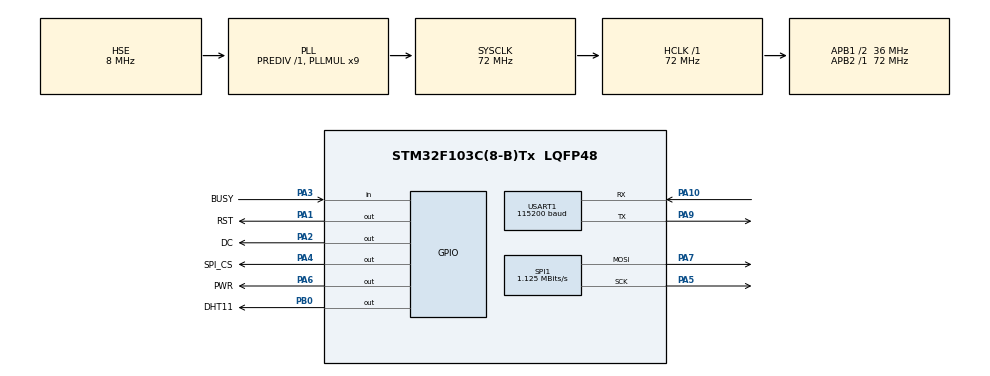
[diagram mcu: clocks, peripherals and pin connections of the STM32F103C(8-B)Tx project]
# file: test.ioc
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Mcu.Family=STM32F1
Mcu.Name=STM32F103C(8-B)Tx
Mcu.Package=LQFP48
NVIC.PriorityGroup=NVIC_PRIORITYGROUP_4
NVIC.TIM4_IRQn=true\:0\:0\:false\:false\:true\:true\:true\:true
NVIC.USART1_IRQn=true\:0\:0\:false\:false\:true\:true\:true\:true
PA1.GPIO_Label=RST
PA1.Signal=GPIO_Output
PA10.Mode=Asynchronous
PA10.Signal=USART1_RX
PA13.Mode=Serial_Wire
PA13.Signal=SYS_JTMS-SWDIO
PA14.Mode=Serial_Wire
PA14.Signal=SYS_JTCK-SWCLK
PA2.GPIO_Label=DC
PA2.Signal=GPIO_Output
PA3.GPIO_Label=BUSY
PA3.Signal=GPIO_Input
PA4.GPIO_Label=SPI_CS
PA4.Signal=GPIO_Output
PA5.GPIO_Speed=GPIO_SPEED_FREQ_LOW
PA5.Mode=TX_Only_Simplex_Unidirect_Master
PA5.Signal=SPI1_SCK
PA6.GPIO_Label=PWR
PA6.Signal=GPIO_Output
PA7.GPIO_Speed=GPIO_SPEED_FREQ_LOW
PA7.Mode=TX_Only_Simplex_Unidirect_Master
PA7.Signal=SPI1_MOSI
PA9.Mode=Asynchronous
PA9.Signal=USART1_TX
PB0.GPIO_Label=DHT11
PB0.GPIO_ModeDefaultOutputPP=GPIO_MODE_OUTPUT_OD
PB0.GPIO_PuPd=GPIO_PULLUP
PB0.Signal=GPIO_Output
PD0-OSC_IN.Mode=HSE-External-Oscillator
PD0-OSC_IN.Signal=RCC_OSC_IN
PD1-OSC_OUT.Mode=HSE-External-Oscillator
PD1-OSC_OUT.Signal=RCC_OSC_OUT
ProjectManager.HeapSize=0x3000
ProjectManager.StackSize=0x1000
ProjectManager.TargetToolchain=MDK-ARM V5
RCC.AHBFreq_Value=72000000
RCC.APB1CLKDivider=RCC_HCLK_DIV2
RCC.APB1Freq_Value=36000000
RCC.APB1TimFreq_Value=72000000
RCC.APB2Freq_Value=72000000
RCC.APB2TimFreq_Value=72000000
RCC.FLatency=FLASH_LATENCY_2
RCC.HCLKFreq_Value=72000000
RCC.PLLMUL=RCC_PLL_MUL9
RCC.PLLSourceVirtual=RCC_PLLSOURCE_HSE
RCC.SYSCLKFreq_VALUE=72000000
RCC.SYSCLKSource=RCC_SYSCLKSOURCE_PLLCLK
RCC.USBFreq_Value=72000000
SPI1.BaudRatePrescaler=SPI_BAUDRATEPRESCALER_64
SPI1.CLKPhase=SPI_PHASE_1EDGE
SPI1.CLKPolarity=SPI_POLARITY_LOW
SPI1.CRCCalculation=SPI_CRCCALCULATION_DISABLE
SPI1.CalculateBaudRate=1.125 MBits/s
SPI1.DataSize=SPI_DATASIZE_8BIT
SPI1.Direction=SPI_DIRECTION_2LINES
SPI1.FirstBit=SPI_FIRSTBIT_MSB
SPI1.Mode=SPI_MODE_MASTER
SPI1.NSS=SPI_NSS_SOFT
SPI1.TIMode=SPI_TIMODE_DISABLE
SPI1.VirtualType=VM_MASTER
TIM4.AutoReloadPreload=TIM_AUTORELOAD_PRELOAD_ENABLE
TIM4.Period=25000-1
TIM4.Prescaler=14400-1
USART1.BaudRate=115200
USART1.Mode=MODE_TX_RX
USART1.Parity=PARITY_NONE
USART1.StopBits=STOPBITS_1
USART1.VirtualMode=VM_ASYNC
USART1.WordLength=WORDLENGTH_8B
VP_TIM4_VS_ClockSourceINT.Mode=Internal
board=epd5in83-demo

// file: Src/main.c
/* USER CODE BEGIN Header */
/**
  ******************************************************************************
  * @file           : main.c
  * @brief          : Main program body
  ******************************************************************************
  * @attention
  *
  * Copyright (c) 2025 STMicroelectronics.
  * All rights reserved.
  *
  * This software is licensed under terms that can be found in the LICENSE file
  * in the root directory of this software component.
  * If no LICENSE file comes with this software, it is provided AS-IS.
  *
  ******************************************************************************
  */
/* USER CODE END Header */
#include "main.h"
#include "spi.h"
#include "tim.h"
#include "usart.h"
#include "gpio.h"

/* USER CODE BEGIN Includes */
#include "EPD_2in9.h"
#include "driver_dht11.h"
#include "fonts.h"
#include "EPD_use.h"
#include "Picture.h"
/* USER CODE END Includes */

/* USER CODE BEGIN PTD */
#include "stdio.h"
#include <string.h>
#ifdef __GNUC__
#define PUTCHAR_PROTOTYPE int __io_putchar(int ch)
#else
#define PUTCHAR_PROTOTYPE int fputc(int ch, FILE *f)
#endif
PUTCHAR_PROTOTYPE
{
    HAL_UART_Transmit(&huart1 , (uint8_t *)&ch, 1, 0xFFFF);
    return ch;
}
/* USER CODE END PTD */

/* USER CODE BEGIN PV */

#define RX_BUFFER_SIZE 1024  // 定义接收缓冲区大小

uint8_t rxBuffer[RX_BUFFER_SIZE];  // 接收缓冲区
uint16_t rxIndex = 0;  // 接收缓冲区的索引
char text_result[100];
char update_result[100];
char tem_result[100];
char real_time[100];
int count=0;
PAINT_TIME part_time;
int year,month,day,hum,temp;
UWORD Imagesize = ((EPD_2IN9_WIDTH % 8 == 0)?
                    (EPD_2IN9_WIDTH / 8 ) :
                    (EPD_2IN9_WIDTH / 8 + 1)) * EPD_2IN9_HEIGHT;
extern  UBYTE *BlackImage ;

void extractText(const char *json) {
    const char *text_key = "\"text\":\"";
    const char *start = strstr(json, text_key);
    if (start) {
        start += strlen(text_key);
        const char *end = strchr(start, '"');
        if (end) {
            size_t len = end - start;
            if (len < sizeof(text_result)) {
                strncpy(text_result, start, len);
                text_result[len] = '\0';
                printf("%s\n", text_result);
            } else {
                printf("提取的 text 字段过长，超出缓冲区大小\n");
            }
        }
    } else {
        text_result[0] = '\0';
        printf("未找到 text 字段\n");
    }
}
void clear_rxBuffer(void) {
    // 清空缓冲区数据
    memset(rxBuffer, 0, RX_BUFFER_SIZE);
    // 重置接收缓冲区索引
    rxIndex = 0;
    printf("接收缓冲区已清空。\n");
}

void extract_update(const char *json) {
    const char *text_key = "\"last_update\":\"";
    const char *start = strstr(json, text_key);
    if (start) {
        start += strlen(text_key);
        const char *end = strchr(start, '"');
        if (end) {
            size_t len = end - start;
            if (len < sizeof(update_result)) {
                strncpy(update_result, start, len);
                update_result[len] = '\0';
                printf("%s\n", update_result);
            } else {
                printf("提取的 last_update 字段过长，超出缓冲区大小\n");
            }
        }
    } else {
        update_result[0] = '\0';
        printf("未找到 update 字段\n");
    }
}
void extract_real_time(const char *json) {
    const char *text_key = "\"request_id\":\"";
    const char *start = strstr(json, text_key);
    if (start) {
        start += strlen(text_key);
        const char *end = strchr(start, '"');
        if (end) {
            size_t len = end - start;
            if (len < sizeof(real_time)) {
                strncpy(real_time, start, len);
                real_time[len] = '\0';
                printf("%s\n", real_time);
            } else {
                printf("提取的 last_update 字段过长，超出缓冲区大小\n");
            }
        }
    } else {
        update_result[0] = '\0';
        printf("未找到 request_id 字段\n");
    }
}

void extract_date_from_http(const char *json) {
	const char *text_key = "Date: ";
    const char *start = strstr(json, text_key);
    if (start) {
        start += strlen(text_key);
			const char *end = strchr(start, 'G');
        if (end) {
            size_t len = end - start;
            if (len < sizeof(real_time)) {
                strncpy(real_time, start, len);
                real_time[len] = '\0';
                printf("%s\n", real_time);
            } else {
                printf("提取的 last_update 字段过长，超出缓冲区大小\n");
            }
        }
    } else {
        update_result[0] = '\0';
        printf("未找到 Date 字段\n");
    }
}

void extract_tempare(const char *json) {
    const char *text_key = "\"temperature\":\"";
    const char *start = strstr(json, text_key);
    if (start) {
        start += strlen(text_key);
        const char *end = strchr(start, '"');
        if (end) {
            size_t len = end - start;
            if (len < sizeof(tem_result)) {
                strncpy(tem_result, start, len);
                tem_result[len] = '\0';
                printf("%s\n", tem_result);
            } else {
                printf("提取的 last_update 字段过长，超出缓冲区大小\n");
            }
        }
    } else {
        update_result[0] = '\0';
        printf("未找到 update 字段\n");
    }
}

void processReceivedData(uint8_t* buffer, uint16_t size)
{
    printf("%s\n", buffer);  // 作为字符串输出
}
// ��һ�������С�ĵ�ɫλͼ��ָ��λ�ã�x, y��
void Paint_DrawBitMapXY(const unsigned char *image, UWORD x_start, UWORD y_start, UWORD width, UWORD height) {
    UWORD x, y;
    for (y = 0; y < height; y++) {
        for (x = 0; x < width; x++) {
            UWORD byte_index = y * ((width + 7) / 8) + x / 8;
            UBYTE byte = image[byte_index];
            UBYTE bit = 0x80 >> (x % 8);
            if (byte & bit)
                Paint_SetPixel(x_start + x, y_start + y, BLACK);
            else
                Paint_SetPixel(x_start + x, y_start + y, WHITE);
        }
    }
}

void clear( UWORD x_start, UWORD y_start, UWORD width, UWORD height,uint16_t Color) {
    UWORD x, y;
    for (y = 0; y < height; y++) {
        for (x = 0; x < width; x++) {
                Paint_SetPixel(x_start + x, y_start + y, Color);
        }
    }
}

/* USER CODE END PV */

void SystemClock_Config(void);
/* USER CODE BEGIN PFP */
int EPD_test(void);
/* USER CODE END PFP */

/* USER CODE BEGIN 0 */
int MY_EPD_test(void)
{

		DEV_Module_Init();
		EPD_2IN9_Init(EPD_2IN9_FULL);
		EPD_2IN9_Clear();

		Paint_NewImage(BlackImage, EPD_2IN9_WIDTH, EPD_2IN9_HEIGHT, 270, WHITE);
		Paint_SelectImage(BlackImage);
		Paint_Clear(WHITE);

		Paint_DrawLine(0, 21, 296, 21, BLACK, DOT_PIXEL_1X1, LINE_STYLE_SOLID);
		Paint_DrawLine(245, 21, 245, 128, BLACK, DOT_PIXEL_1X1, LINE_STYLE_SOLID);
		Paint_DrawLine(72, 21, 72, 128, BLACK, DOT_PIXEL_1X1, LINE_STYLE_SOLID);
		HAL_Delay(2000);    EPD_2IN9_Display(BlackImage);

		Paint_DrawBitMapXY(gImage_wifi_disconnect, 276, 0, 20, 20); // ����λ��
		HAL_Delay(2000);    EPD_2IN9_Display(BlackImage);
		return 0;
}

int E_test(void)
{
		Paint_DrawBitMapXY(gImage_snow, 246, 21, 50, 50); // ����λ��
		HAL_Delay(2000);    EPD_2IN9_Display(BlackImage);
		return 0;
}

void HAL_TIM_PeriodElapsedCallback(TIM_HandleTypeDef *htim)
{

	count++;

}

void Set_Time(char *real_time)
{
		part_time.Hour=(real_time[17]-'0')*10+real_time[18]-'0'+8;
		part_time.Min=(real_time[20]-'0')*10+real_time[21]-'0';
		part_time.Sec=(real_time[23]-'0')*10+real_time[24]-'0';

}

void Get_Weather(void)
{
		HAL_UART_Receive_IT(&huart1, &rxBuffer[0], 1);
		HAL_UART_AbortReceive_IT(&huart1);
		printf("AT\r\n");		HAL_Delay(1000);
		printf("AT+RST\r\n");		HAL_Delay(1000);
		printf("AT+CWJAP=\"HANTAO\",\"1234567a\"\r\n");  HAL_Delay(3000);
		printf("AT+CWMODE=1\r\n");HAL_Delay(2000);
		printf("AT+CIPSTART=\"TCP\",\"api.seniverse.com\",80\r\n");HAL_Delay(2000);
		printf("AT+CIPMODE=1\r\n");HAL_Delay(1000);
		printf("AT+CIPSEND\r\n");	HAL_Delay(1000);
		HAL_UART_AbortReceive_IT(&huart1);
		HAL_Delay(1000);
		printf("GET http://api.seniverse.com/v3/weather/now.json?key=SHxTJ0yyZMhCuawJ9&location=haerbin&language=zh-Hans&unit=c\r\n\r\n");
		uint8_t end = 0x1A;
		HAL_UART_Transmit(&huart1, &end, 1, 100);

}

void Get_time(void)
{
		printf("\r\n+++");	HAL_Delay(5000);
		printf("AT+CIPCLOSE\r\n");		HAL_Delay(1000);
		HAL_UART_Receive_IT(&huart1, &rxBuffer[0], 1);
		HAL_UART_AbortReceive_IT(&huart1);
		printf("+++");		HAL_Delay(1000);
		printf("\r\n");		HAL_Delay(1000);
		printf("AT+CIPCLOSE\r\n");		HAL_Delay(1000);
		printf("AT+RST\r\n");		HAL_Delay(1000);
		printf("AT+CWJAP=\"HANTAO\",\"1234567a\"\r\n");  HAL_Delay(3000);
		printf("AT+CWMODE=1\r\n");HAL_Delay(2000);
		printf("AT+CIPSTART=\"TCP\",\"f.m.suning.com\",80\r\n");HAL_Delay(6000);
		printf("AT+CWMODE=1\r\n");HAL_Delay(2000);
		printf("AT+CIPMODE=1\r\n");HAL_Delay(1000);
		printf("AT+CIPSEND\r\n");	HAL_Delay(1000);

}
/* USER CODE END 0 */

int main(void)
{

  /* MCU Configuration--------------------------------------------------------*/

  /* Reset of all peripherals, Initializes the Flash interface and the Systick. */
  HAL_Init();

  /* Configure the system clock */
  SystemClock_Config();

  /* Initialize all configured peripherals */
  MX_GPIO_Init();
  MX_USART1_UART_Init();
  MX_SPI1_Init();
  MX_TIM4_Init();
  /* USER CODE BEGIN 2 */

 //
	BlackImage = (UBYTE *)malloc(Imagesize);
	MY_EPD_test();
	DHT11_Init();
	HAL_TIM_Base_Start_IT(&htim4);
	HAL_Delay(2000);    EPD_2IN9_Display(BlackImage);
  /* USER CODE END 2 */

  /* Infinite loop */
  /* USER CODE BEGIN WHILE */
//  while (1)
//  {
    /* USER CODE END WHILE */

    /* USER CODE BEGIN 3 */
//  	HAL_Delay(1000);

//	}

		Get_Weather();
		HAL_UART_Receive_IT(&huart1, &rxBuffer[0], 1);
		if (rxIndex > 0)
		{
				processReceivedData(rxBuffer, rxIndex);
		}
		HAL_Delay(1000);
		extractText((const char *)rxBuffer);
		extract_update((const char *)rxBuffer);
		extract_tempare((const char *)rxBuffer);

		if (strcmp(text_result, "阴") == 0) {
        E_test();
    }

		Get_time();
		clear_rxBuffer();	rxIndex = 0;

			HAL_UART_AbortReceive_IT(&huart1);
		printf("GET /api/ct.do HTTP/1.1\r\nHost: f.m.suning.com\r\nUser-Agent: ESP8266\r\nConnection: close\r\n\r\n");
				HAL_UART_Receive_IT(&huart1, &rxBuffer[0], 1);
        if (rxIndex > 0)
        {
            processReceivedData(rxBuffer, rxIndex);
        }
				HAL_Delay(2000);
		extract_date_from_http((const char *)rxBuffer);

		printf("+++");	HAL_Delay(5000);
		printf("AT+CIPCLOSE\r\n");		HAL_Delay(1000);
		rxIndex = 0;
		HAL_UART_Receive_IT(&huart1, &rxBuffer[0], 1);
		HAL_UART_AbortReceive_IT(&huart1);
		printf("+++");		HAL_Delay(1000);
		printf("\r\n");		HAL_Delay(1000);
		printf("AT+RST\r\n");		HAL_Delay(1000);
//	Paint_DrawNum(50, 33, 1234, &Font12, BLACK, WHITE);
//	EPD_2IN9_Display(BlackImage);
//	Paint_DrawString_EN(60, 0, update_result, &Font24, BLACK,WHITE);
//	HAL_Delay(2000);    EPD_2IN9_Display(BlackImage);
		DHT11_Read(&hum, &temp);
		Paint_DrawBitMapXY(gImage_wifi, 276, 0, 20, 20); // ����λ��
		Paint_DrawBitMapXY(gImage_hum, 0, 44, 20, 20); // ����λ��
		Paint_DrawBitMapXY(gImage_tem, 0,79, 20, 20); // ����λ��
		Paint_DrawString_EN(54, 44, "%", &Font20, WHITE, BLACK);
		Paint_DrawString_EN(54, 79, "C", &Font20, WHITE, BLACK);

		Paint_DrawString_EN(0, 2, real_time, &Font16, WHITE, BLACK);
	  clear(187,0,88,20,0XFF);
		year=((update_result[0]-'0')*1000+(update_result[1]-'0')*100+(update_result[2]-'0')*10+(update_result[3]-'0'));
		month=((update_result[5]-'0')*10+(update_result[6]-'0'));
		day=((update_result[8]-'0')*10+(update_result[9]-'0'));

		Weekday(year,month,day);
		Paint_DrawString_EN(255, 112, tem_result, &Font16, WHITE, BLACK);

    DEV_Delay_ms(2000);    EPD_2IN9_Display(BlackImage);
		Set_Time(real_time);
//		part_time.Hour=(real_time[17]-'0')*10+real_time[18]-'0'+8;
//		part_time.Min=(real_time[20]-'0')*10+real_time[21]-'0';
//		part_time.Sec=(real_time[23]-'0')*10+real_time[24]-'0';
		Paint_DrawTime(100,51,&part_time,&Font48, WHITE, BLACK);
		while(1)
	{
		printf("%s   %s\n", text_result,update_result);
		DHT11_Read(&hum, &temp);
		printf("%d %d\n",hum,temp);
		clear(21,22,34,100,0XFF);
    Paint_DrawNum(20, 44, hum, &Font20, BLACK, WHITE);
    Paint_DrawNum(20, 79, temp, &Font20, BLACK, WHITE);
    EPD_2IN9_Display(BlackImage);
		HAL_Delay(8000);

	}

  /* USER CODE END 3 */
}

void SystemClock_Config(void)
{
  RCC_OscInitTypeDef RCC_OscInitStruct = {0};
  RCC_ClkInitTypeDef RCC_ClkInitStruct = {0};

  /** Initializes the RCC Oscillators according to the specified parameters
  * in the RCC_OscInitTypeDef structure.
  */
  RCC_OscInitStruct.OscillatorType = RCC_OSCILLATORTYPE_HSE;
  RCC_OscInitStruct.HSEState = RCC_HSE_ON;
  RCC_OscInitStruct.HSEPredivValue = RCC_HSE_PREDIV_DIV1;
  RCC_OscInitStruct.HSIState = RCC_HSI_ON;
  RCC_OscInitStruct.PLL.PLLState = RCC_PLL_ON;
  RCC_OscInitStruct.PLL.PLLSource = RCC_PLLSOURCE_HSE;
  RCC_OscInitStruct.PLL.PLLMUL = RCC_PLL_MUL9;
  if (HAL_RCC_OscConfig(&RCC_OscInitStruct) != HAL_OK)
  {
    Error_Handler();
  }

  /** Initializes the CPU, AHB and APB buses clocks
  */
  RCC_ClkInitStruct.ClockType = RCC_CLOCKTYPE_HCLK|RCC_CLOCKTYPE_SYSCLK
                              |RCC_CLOCKTYPE_PCLK1|RCC_CLOCKTYPE_PCLK2;
  RCC_ClkInitStruct.SYSCLKSource = RCC_SYSCLKSOURCE_PLLCLK;
  RCC_ClkInitStruct.AHBCLKDivider = RCC_SYSCLK_DIV1;
  RCC_ClkInitStruct.APB1CLKDivider = RCC_HCLK_DIV2;
  RCC_ClkInitStruct.APB2CLKDivider = RCC_HCLK_DIV1;

  if (HAL_RCC_ClockConfig(&RCC_ClkInitStruct, FLASH_LATENCY_2) != HAL_OK)
  {
    Error_Handler();
  }
}

void Error_Handler(void)
{
  __disable_irq();
  while (1)
  {
  }
}
